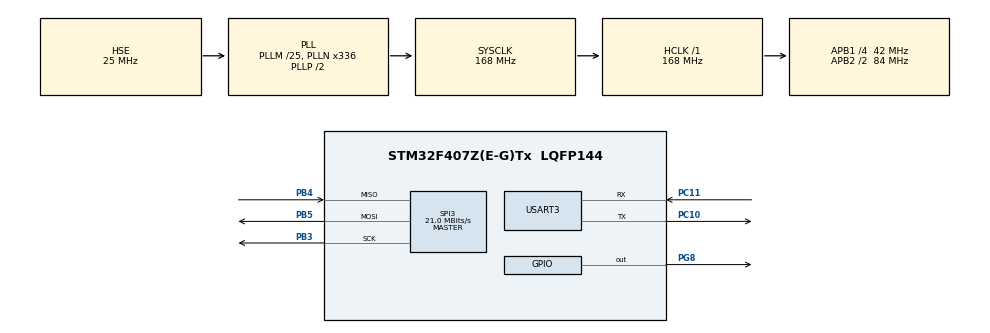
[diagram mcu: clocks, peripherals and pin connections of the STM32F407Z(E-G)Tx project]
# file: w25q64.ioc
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Mcu.Family=STM32F4
Mcu.Name=STM32F407Z(E-G)Tx
Mcu.Package=LQFP144
NVIC.PriorityGroup=NVIC_PRIORITYGROUP_4
PA13.Mode=Serial_Wire
PA13.Signal=SYS_JTMS-SWDIO
PA14.Mode=Serial_Wire
PA14.Signal=SYS_JTCK-SWCLK
PB3.Mode=Full_Duplex_Master
PB3.Signal=SPI3_SCK
PB4.Mode=Full_Duplex_Master
PB4.Signal=SPI3_MISO
PB5.Mode=Full_Duplex_Master
PB5.Signal=SPI3_MOSI
PC10.Mode=Asynchronous
PC10.Signal=USART3_TX
PC11.Mode=Asynchronous
PC11.Signal=USART3_RX
PC14-OSC32_IN.Mode=LSE-External-Oscillator
PC14-OSC32_IN.Signal=RCC_OSC32_IN
PC15-OSC32_OUT.Mode=LSE-External-Oscillator
PC15-OSC32_OUT.Signal=RCC_OSC32_OUT
PG8.Signal=GPIO_Output
PH0-OSC_IN.Mode=HSE-External-Oscillator
PH0-OSC_IN.Signal=RCC_OSC_IN
PH1-OSC_OUT.Mode=HSE-External-Oscillator
PH1-OSC_OUT.Signal=RCC_OSC_OUT
ProjectManager.HeapSize=0x200
ProjectManager.StackSize=0x400
ProjectManager.TargetToolchain=MDK-ARM V5.32
RCC.48MHZClocksFreq_Value=84000000
RCC.AHBFreq_Value=168000000
RCC.APB1CLKDivider=RCC_HCLK_DIV4
RCC.APB1Freq_Value=42000000
RCC.APB1TimFreq_Value=84000000
RCC.APB2CLKDivider=RCC_HCLK_DIV2
RCC.APB2Freq_Value=84000000
RCC.APB2TimFreq_Value=168000000
RCC.CortexFreq_Value=168000000
RCC.HCLKFreq_Value=168000000
RCC.HSE_VALUE=25000000
RCC.HSI_VALUE=16000000
RCC.PLLM=25
RCC.PLLN=336
RCC.PLLSourceVirtual=RCC_PLLSOURCE_HSE
RCC.SYSCLKFreq_VALUE=168000000
RCC.SYSCLKSource=RCC_SYSCLKSOURCE_PLLCLK
RCC.VCOOutputFreq_Value=336000000
SPI3.BaudRatePrescaler=SPI_BAUDRATEPRESCALER_2
SPI3.CalculateBaudRate=21.0 MBits/s
SPI3.Direction=SPI_DIRECTION_2LINES
SPI3.Mode=SPI_MODE_MASTER
SPI3.VirtualType=VM_MASTER
USART3.VirtualMode=VM_ASYNC
board=custom

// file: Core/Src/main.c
/* USER CODE BEGIN Header */
/**
  ******************************************************************************
  * @file           : main.c
  * @brief          : Main program body
  ******************************************************************************
  * @attention
  *
  * Copyright (c) 2025 STMicroelectronics.
  * All rights reserved.
  *
  * This software is licensed under terms that can be found in the LICENSE file
  * in the root directory of this software component.
  * If no LICENSE file comes with this software, it is provided AS-IS.
  *
  ******************************************************************************
  */
/* USER CODE END Header */
#include "main.h"
#include "spi.h"
#include "usart.h"
#include "gpio.h"

/* USER CODE BEGIN Includes */
#include "stdio.h"
#include "w25flash.h"
/* USER CODE END Includes */

void SystemClock_Config(void);

int main(void)
{

  /* MCU Configuration--------------------------------------------------------*/

  /* Reset of all peripherals, Initializes the Flash interface and the Systick. */
  HAL_Init();

  /* Configure the system clock */
  SystemClock_Config();

  /* Initialize all configured peripherals */
  MX_GPIO_Init();
  MX_SPI3_Init();
  MX_USART3_UART_Init();
  /* USER CODE BEGIN 2 */
  if(W25Qxx_Not == WS_W25Qxx_Init()) { // 若初始化失败（返回值等于错误码）
    printf("Read Error\r\n");        // 打印初始化错误信息
    HAL_Delay(2000);                  // 延迟2秒，避免频繁重试

    // 循环重试初始化，直到成功（返回值不等于错误码）
    while(WS_W25Qxx_Init() == W25Qxx_Not) {
        HAL_Delay(2000);              // 每次重试前延迟2秒
    }
  }
  /* USER CODE END 2 */

  /* Infinite loop */
  /* USER CODE BEGIN WHILE */
  uint8_t times=0;
  while(HAL_OK != WS_W25Qxx_Read(&times, 0, 1));
  // 当读取成功（返回HAL_OK）时退出循环，若失败可能持续等待（需结合函数实际逻辑）

  // 如果读取到的值为0xFF（闪存未写入时的默认值），则视为首次开机，设置为1
  if(times == 0xff) {
	times = 1;
  } else {
	times++; // 否则开机次数加1
  }

  WS_W25Qxx_Write(&times, 0, 1); // 将更新后的开机次数写入闪存地址0处

  printf("This is the %uth power on.\r\n", times); // 打印当前开机次数
  while (1)
  {
    /* USER CODE END WHILE */

  }
}

void SystemClock_Config(void)
{
  RCC_OscInitTypeDef RCC_OscInitStruct = {0};
  RCC_ClkInitTypeDef RCC_ClkInitStruct = {0};

  /** Configure the main internal regulator output voltage
  */
  __HAL_RCC_PWR_CLK_ENABLE();
  __HAL_PWR_VOLTAGESCALING_CONFIG(PWR_REGULATOR_VOLTAGE_SCALE1);

  /** Initializes the RCC Oscillators according to the specified parameters
  * in the RCC_OscInitTypeDef structure.
  */
  RCC_OscInitStruct.OscillatorType = RCC_OSCILLATORTYPE_HSE;
  RCC_OscInitStruct.HSEState = RCC_HSE_ON;
  RCC_OscInitStruct.PLL.PLLState = RCC_PLL_ON;
  RCC_OscInitStruct.PLL.PLLSource = RCC_PLLSOURCE_HSE;
  RCC_OscInitStruct.PLL.PLLM = 25;
  RCC_OscInitStruct.PLL.PLLN = 336;
  RCC_OscInitStruct.PLL.PLLP = RCC_PLLP_DIV2;
  RCC_OscInitStruct.PLL.PLLQ = 4;
  if (HAL_RCC_OscConfig(&RCC_OscInitStruct) != HAL_OK)
  {
    Error_Handler();
  }

  /** Initializes the CPU, AHB and APB buses clocks
  */
  RCC_ClkInitStruct.ClockType = RCC_CLOCKTYPE_HCLK|RCC_CLOCKTYPE_SYSCLK
                              |RCC_CLOCKTYPE_PCLK1|RCC_CLOCKTYPE_PCLK2;
  RCC_ClkInitStruct.SYSCLKSource = RCC_SYSCLKSOURCE_PLLCLK;
  RCC_ClkInitStruct.AHBCLKDivider = RCC_SYSCLK_DIV1;
  RCC_ClkInitStruct.APB1CLKDivider = RCC_HCLK_DIV4;
  RCC_ClkInitStruct.APB2CLKDivider = RCC_HCLK_DIV2;

  if (HAL_RCC_ClockConfig(&RCC_ClkInitStruct, FLASH_LATENCY_5) != HAL_OK)
  {
    Error_Handler();
  }
}

void Error_Handler(void)
{
  __disable_irq();
  while (1)
  {
  }
}
